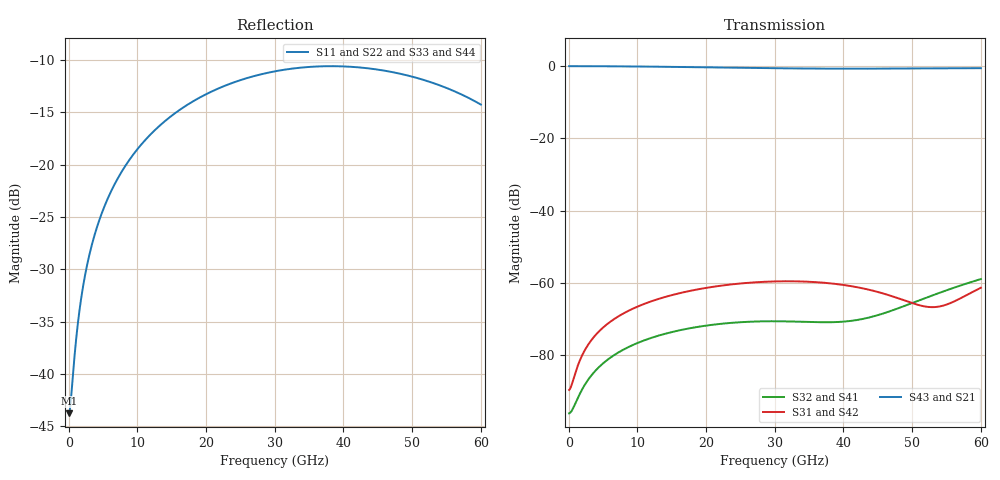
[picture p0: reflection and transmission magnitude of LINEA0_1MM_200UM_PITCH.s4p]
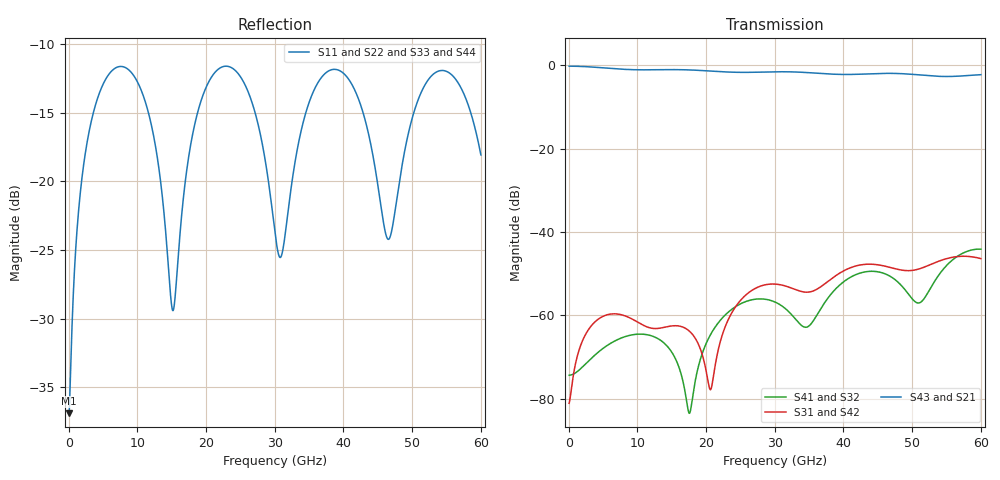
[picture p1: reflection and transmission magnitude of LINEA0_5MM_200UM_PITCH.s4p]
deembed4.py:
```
"""Steps 1-3 on the coupled pair (4-port), ports 1->2 line A, 3->4 line B.
1. Remove the single-line port region (series Zs, shunt Yp, fitted in
   docs/cst/cascade/three_lengths.py) from each line at both ends.
2. Chain five cleaned 1 mm blocks and compare with the cleaned 5 mm.
3. Two-length cancellation T1^-1 T5 (ports cancel without any model) = 4 mm,
   compared with four cleaned 1 mm blocks chained."""
import numpy as np, matplotlib.pyplot as plt
from first_look_lib import load4
R0 = 50.0; I2 = np.eye(2); I4 = np.eye(4)
Lp, Rp = [0, 2], [1, 3]                       # left ports (1,3), right ports (2,4)

def s2abcd(S):
    """4-port S (50 ohm) -> 4x4 ABCD: [V_L; I_L] = T [V_R; -I_R]."""
    Z = R0*(I4 + S) @ np.linalg.inv(I4 - S)
    ZLL, ZLR = Z[:, Lp][:, :, Lp], Z[:, Lp][:, :, Rp]
    ZRL, ZRR = Z[:, Rp][:, :, Lp], Z[:, Rp][:, :, Rp]
    C = np.linalg.inv(ZRL); D = C @ ZRR; A = ZLL @ C; B = ZLL @ D - ZLR
    return np.block([[A, B], [C, D]])

def abcd2s(T):
    A, B, C, D = T[:, :2, :2], T[:, :2, 2:], T[:, 2:, :2], T[:, 2:, 2:]
    Ci = np.linalg.inv(C)                      # Z-matrix from ABCD
    ZLL = A @ Ci; ZRL = Ci; ZRR = Ci @ D; ZLR = A @ Ci @ D - B
    Z = np.zeros_like(T)
    for P, Q, blk in [(Lp, Lp, ZLL), (Lp, Rp, ZLR), (Rp, Lp, ZRL), (Rp, Rp, ZRR)]:
        for a in range(2):
            for b in range(2):
                Z[:, P[a], Q[b]] = blk[:, a, b]
    return (Z - R0*I4) @ np.linalg.inv(Z + R0*I4)

f, S1 = load4("LINEA0_1MM_200UM_PITCH.s4p"); _, S5 = load4("LINEA0_5MM_200UM_PITCH.s4p")
k0 = slice(1, None)                            # skip DC (Z-matrix singular)
f, S1, S5 = f[k0], S1[k0], S5[k0]
pr = np.load("../cascade/three_lengths_results.npz"); Zs, Yp = pr["Zs"][k0], pr["Yp"][k0]
T1, T5 = s2abcd(S1), s2abcd(S5)

# port region, port side -> line side, same on both lines, no coupling
P = np.zeros((len(f), 4, 4), complex)
P[:, :2, :2] = ((1 + Zs*Yp)[:, None, None])*I2; P[:, :2, 2:] = Zs[:, None, None]*I2
P[:, 2:, :2] = Yp[:, None, None]*I2;           P[:, 2:, 2:] = I2
Pm = P.copy(); Pm[:, :2, :2], Pm[:, 2:, 2:] = P[:, 2:, 2:], P[:, :2, :2]   # mirror
clean = lambda T: np.linalg.inv(P) @ T @ np.linalg.inv(Pm)
T1c, T5c = clean(T1), clean(T5)
mp = np.linalg.matrix_power
T4x = np.linalg.solve(T1, T5)                  # step 3: T1^-1 T5

db = lambda x: 20*np.log10(abs(x)); G = f/1e9
cur = {"5 mm CST (raw)": abcd2s(T5), "5 mm, ports removed": abcd2s(T5c),
       "5 x 1 mm, ports removed": abcd2s(mp(T1c, 5)),
       "4 mm = T1^-1 T5": abcd2s(T4x), "4 x 1 mm, ports removed": abcd2s(mp(T1c, 4))}
k = lambda g: np.argmin(abs(G-g))
for g in (1, 10, 20, 30, 45, 60):
    print(f"{g:3d} GHz  " + " | ".join(f"{n[:14]}: N {db(s[k(g),2,0]):6.1f} F {db(s[k(g),3,0]):6.1f}" for n, s in cur.items()))

# modal check: eigenvalues of T1^-1 T5 are e^{+-gamma_e 4mm}, e^{+-gamma_o 4mm}
ev = np.linalg.eigvals(T4x); c = 299792458
lam = np.sort_complex(np.where(abs(ev) < 1, ev, 1/ev))      # forward ones, pairs
n_eff = -np.unwrap(np.angle(lam), axis=0)/(4e-3)*c/(2*np.pi*f[:, None])
for g in (10, 30, 60):
    print(f"{g} GHz n from T1^-1T5 eigenvalues:", np.round(np.sort(n_eff[k(g)]), 4))

st = {"5 mm CST (raw)": ("0.75", ":"), "5 mm, ports removed": ("k", "-"), "5 x 1 mm, ports removed": ("C3", "--"),
      "4 mm = T1^-1 T5": ("C0", "-"), "4 x 1 mm, ports removed": ("C1", "--")}
fig, ax = plt.subplots(2, 2, figsize=(12, 8))
for row, names in enumerate([list(cur)[:3], list(cur)[3:]]):
    for col, (r, t) in enumerate([(2, "NEXT S31"), (3, "FEXT S41")]):
        a = ax[row, col]
        for n in names:
            a.plot(G, db(cur[n][:, r, 0]), color=st[n][0], ls=st[n][1], label=n)
        a.set_title(("Step 2: " if row == 0 else "Step 3: ") + t); a.grid(alpha=.3)
        a.set_xlabel("Frequency (GHz)"); a.set_ylabel("dB"); a.legend(fontsize=8)
plt.tight_layout(); plt.savefig("deembed4.png", dpi=130)
```
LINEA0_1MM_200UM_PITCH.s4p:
! TOUCHSTONE file generated by CST MICROWAVE STUDIO
! Date and time: Wed Oct 14 10:40:22 2026
! Project name: LINEA0_1MM_200UM_PITCH.cst
! Parameters = {CHANNEL_PITCH=0.2; GAP=0.00415; L=1; L1=0.02; L2=0.086; L3=0.066; NCELL=1; PITCH=0.18; START_POSITION=0.08; W1=0.003; W2=0.004; W3=0.009; WG=0.04985; gap_oxr=0.00125; linbo3_thickness=0.0002; mtx=0.002; oxiDinE=0.0014; w=0.15; ws=0.035}
! Header version: 2024
! Port assignment regex: !\s*Touchstone port\s*([0-9]+)\s*=\s*(CST MWS port|CST DES external port|CST DES block port)\s*(.+)\s* \(\"(.*)\"\)(\s*mode\s*([0-9]+))?.*
! Touchstone port assignment:
! Touchstone port 1 = CST MWS port 1 ("")
! Touchstone port 2 = CST MWS port 2 ("")
! Touchstone port 3 = CST MWS port 3 ("")
! Touchstone port 4 = CST MWS port 4 ("")
# GHz S MA R 50
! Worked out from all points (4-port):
!   1000 points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, 60 MHz to 60 GHz, reference 50 ohm
!   strongest paths, dB at 60 MHz, 15.06 GHz, 30.06 GHz, 45.06 GHz, 60 GHz:
!     S43: -0.1, -0.3, -0.6, -0.7, -0.6
!     S21: -0.1, -0.3, -0.6, -0.7, -0.6
!     S31: -89.6, -63.4, -59.6, -62.6, -61.4
!     S42: -89.6, -63.4, -59.6, -62.6, -61.4
!     S32: -96.1, -73.6, -70.6, -68.9, -59.0
!     S41: -96.1, -73.6, -70.6, -68.9, -59.0
!   lowest |S11| = -43.7 dB at 60 MHz (marker M1), VSWR 1.01, Z = 50.6 - j0.0756 ohm
!   |S11| at or under -10 dB: start of sweep to end of sweep
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0.06  0.006495 -6.6  0.9921 -0.2  3.3e-05 4.9  1.566e-05 176.4
      0.9921 -0.2  0.006495 -6.6  1.566e-05 176.4  3.3e-05 4.9
      3.3e-05 4.9  1.566e-05 176.4  0.006485 -6.6  0.9921 -0.2
      1.566e-05 176.4  3.3e-05 4.9  0.9921 -0.2  0.006485 -6.6
15.36  0.175 -123.6  0.9694 -38.4  0.0006892 48.8  0.0002121 20.7
       0.9694 -38.4  0.175 -123.6  0.0002121 20.7  0.0006892 48.8
       0.0006892 48.8  0.0002121 20.7  0.1751 -123.6  0.9694 -38.4
       0.0002121 20.7  0.0006892 48.8  0.9694 -38.4  0.1751 -123.6
60  0.1937 137.7  0.9306 -141.3  0.0008552 27.8  0.001127 -105.1
    0.9306 -141.3  0.1937 137.7  0.001127 -105.1  0.0008552 27.8
    0.0008552 27.8  0.001127 -105.1  0.1939 137.7  0.9307 -141.2
    0.001127 -105.1  0.0008552 27.8  0.9307 -141.2  0.1939 137.7
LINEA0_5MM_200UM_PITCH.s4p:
! TOUCHSTONE file generated by CST MICROWAVE STUDIO
! Date and time: Thu Oct 15 09:16:29 2026
! Project name: LINEA0_5MM_200UM_PITCH.cst
! Parameters = {CHANNEL_PITCH=0.2; GAP=0.00415; L=5; L1=0.02; L2=0.086; L3=0.066; NCELL=1; PITCH=0.18; START_POSITION=0.08; W1=0.003; W2=0.004; W3=0.009; WG=0.04985; gap_oxr=0.00125; linbo3_thickness=0.0002; mtx=0.002; oxiDinE=0.0014; w=0.15; ws=0.035}
! Header version: 2024
! Port assignment regex: !\s*Touchstone port\s*([0-9]+)\s*=\s*(CST MWS port|CST DES external port|CST DES block port)\s*(.+)\s* \(\"(.*)\"\)(\s*mode\s*([0-9]+))?.*
! Touchstone port assignment:
! Touchstone port 1 = CST MWS port 1 ("")
! Touchstone port 2 = CST MWS port 2 ("")
! Touchstone port 3 = CST MWS port 3 ("")
! Touchstone port 4 = CST MWS port 4 ("")
# GHz S MA R 50
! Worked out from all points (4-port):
!   1000 points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, 60 MHz to 60 GHz, reference 50 ohm
!   strongest paths, dB at 60 MHz, 15.06 GHz, 30.06 GHz, 45.06 GHz, 60 GHz:
!     S43: -0.2, -1.0, -1.5, -1.9, -2.2
!     S21: -0.2, -1.0, -1.5, -2.0, -2.2
!     S31: -81.1, -62.5, -52.5, -47.9, -46.4
!     S42: -81.1, -62.5, -52.5, -47.9, -46.4
!     S41: -74.4, -69.0, -56.8, -49.6, -44.1
!     S32: -74.4, -69.0, -56.8, -49.6, -44.1
!   lowest |S11| = -36.9 dB at 60 MHz (marker M1), VSWR 1.03, Z = 51.4 - j0.352 ohm
!   |S11| at or under -10 dB: start of sweep to end of sweep
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0.06  0.01428 -13.9  0.9786 -0.8  8.818e-05 9.2  0.0001907 177.2
      0.9786 -0.8  0.01428 -13.9  0.0001907 177.2  8.818e-05 9.2
      8.81e-05 9.2  0.0001911 177.2  0.01426 -13.9  0.9786 -0.8
      0.0001911 177.2  8.81e-05 9.2  0.9786 -0.8  0.01426 -13.9
15.06  0.0343 176.1  0.8898 -178.9  0.0007479 -18.1  0.0003559 117.3
       0.8898 -178.9  0.0343 176.1  0.0003559 117.3  0.0007479 -18.1
       0.000748 -18.1  0.0003557 117.3  0.03434 175.7  0.89 -178.8
       0.0003557 117.3  0.000748 -18.1  0.89 -178.8  0.03434 175.7
60  0.125 146.1  0.7726 22.2  0.004802 -67.7  0.006239 -26.9
    0.7726 22.2  0.125 146.1  0.006239 -26.9  0.004802 -67.7
    0.004801 -67.7  0.006236 -26.9  0.1256 146.0  0.7733 22.3
    0.006236 -26.9  0.004801 -67.7  0.7733 22.3  0.1256 146.0
